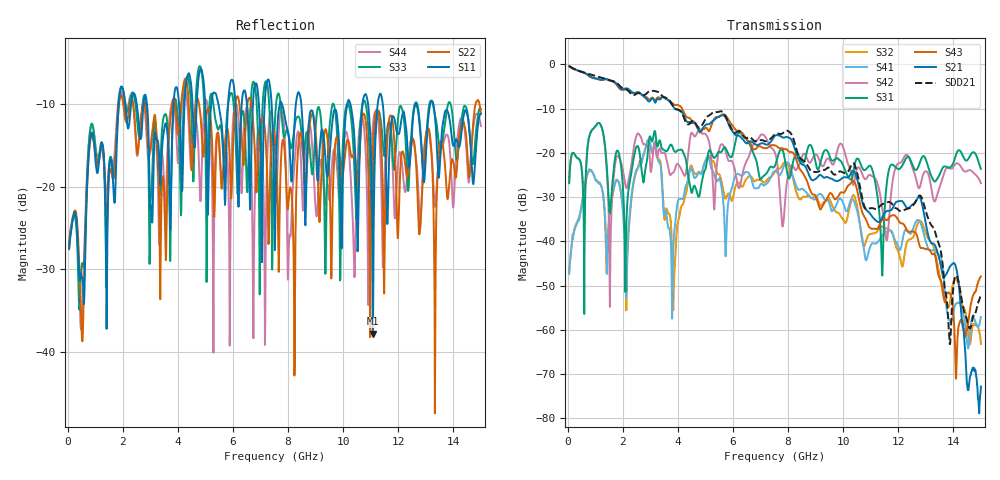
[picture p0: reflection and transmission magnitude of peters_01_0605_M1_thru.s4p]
! peters_01_0605 M1 channel thru response
#  HZ  S  RI  R  50
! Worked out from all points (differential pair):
!   1496 points, 50 MHz to 15 GHz, reference 50 ohm
!   strongest paths, dB at 50 MHz, 3.79 GHz, 7.53 GHz, 11.27 GHz, 15 GHz:
!     S21: -0.4, -9.1, -16.1, -35.7, -72.8
!     S43: -0.4, -8.7, -18.3, -36.9, -47.9
!     S31: -26.8, -18.5, -22.8, -31.1, -23.6
!     S42: -26.9, -24.6, -20.1, -27.4, -26.9
!     S41: -47.3, -57.5, -24.2, -40.1, -57.1
!     S32: -47.3, -43.3, -24.2, -37.4, -63.1
!   taken as a pair (ports 1,3 in; 2,4 out), SDD21 dB: -0.4, -9.1, -15.8, -32.5, -52.1
!   lowest |S11| = -37.8 dB at 11.08 GHz (marker M1), VSWR 1.03, Z = 49.3 - j1.06 ohm
!   |S11| at or under -10 dB: start of sweep to 1.852 GHz; 8.48 GHz to 10.15 GHz (1.67 GHz wide, 17.9 % of centre); 13.28 GHz to end of sweep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
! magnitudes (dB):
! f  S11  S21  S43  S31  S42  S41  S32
! 50 MHz  -27.4  -0.4  -0.4  -26.8  -26.9  -47.3  -47.3
! 2.93 GHz  -13.3  -8.4  -7.9  -18.1  -18.7  -17.0  -17.1
! 3.85 GHz  -9.6  -9.8  -9.0  -19.4  -24.3  -39.3  -50.0
! 5.1 GHz  -21.7  -13.5  -15.0  -20.1  -16.9  -21.0  -20.7
! 11.08 GHz  -37.8  -34.6  -37.1  -24.3  -25.4  -40.4  -38.2
! 12.79 GHz  -13.1  -30.2  -41.2  -22.1  -27.6  -35.5  -35.3
! 15 GHz  -11.1  -72.8  -47.9  -23.6  -26.9  -57.1  -63.1
